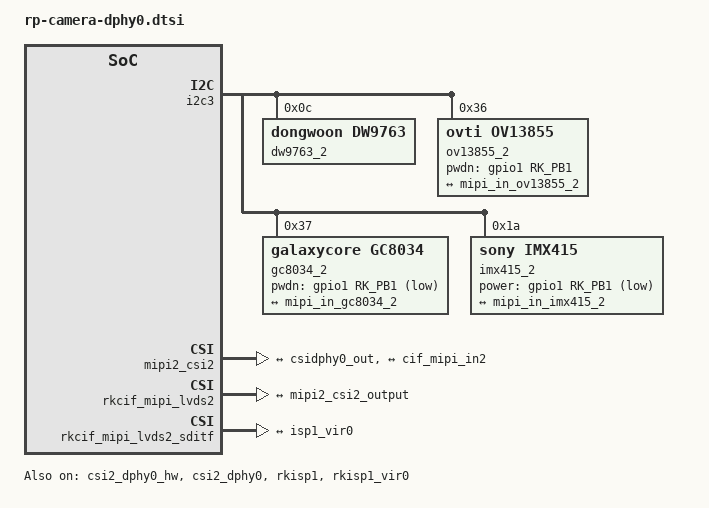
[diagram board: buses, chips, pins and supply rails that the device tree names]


&i2c3 {
	status = "okay";
	pinctrl-names = "default";
	pinctrl-0 = <&i2c3m0_xfer>;

	dw9763_2: dw9763_2@c {
                compatible = "dongwoon,dw9763";
                status = "okay";
                reg = <0x0c>;
                rockchip,vcm-max-current = <120>;   
                rockchip,vcm-start-current = <20>;   
                rockchip,vcm-rated-current = <90>;  
                rockchip,vcm-step-mode = <3>;     
                rockchip,vcm-t-src = <0x20>;
                rockchip,vcm-t-div = <1>;
                rockchip,camera-module-index = <2>;    
                rockchip,camera-module-facing = "front"; 
        };
  
	ov13855_2: ov13855_2@36 {
		compatible = "ovti,ov13855";
		status = "okay";
		reg = <0x36>;
		clocks = <&cru CLK_MIPI_CAMARAOUT_M3>;
		clock-names = "xvclk";
		power-domains = <&power RK3588_PD_VI>;
		pinctrl-names = "default";
		pinctrl-0 = <&mipim0_camera3_clk>;
		rockchip,grf = <&sys_grf>;
		pwdn-gpios = <&gpio1 RK_PB1 GPIO_ACTIVE_HIGH>;
		rockchip,camera-module-index = <2>;
		rockchip,camera-module-facing = "front";
		rockchip,camera-module-name = "CMK-OT2016-FV1";
		rockchip,camera-module-lens-name = "default";
		lens-focus = <&dw9763_2>;
		port {
			ov13855_out2: endpoint {
				remote-endpoint = <&mipi_in_ov13855_2>;
				data-lanes = <1 2 3 4>;
			};
		};
	};
        gc8034_2: gc8034_2@37 {
                compatible = "galaxycore,gc8034";
                status = "okay";
                reg = <0x37>;
                clocks = <&cru CLK_MIPI_CAMARAOUT_M3>;
                clock-names = "xvclk";
                power-domains = <&power RK3588_PD_VI>;
                pinctrl-names = "default";
                pinctrl-0 = <&mipim0_camera3_clk>;
                rockchip,grf = <&sys_grf>;
                pwdn-gpios = <&gpio1 RK_PB1 GPIO_ACTIVE_LOW>;
                rockchip,camera-module-index = <0>;
                rockchip,camera-module-facing = "back";
                rockchip,camera-module-name = "RK-CMK-8M-2-v1";
                rockchip,camera-module-lens-name = "CK8401-4";
                port {
                        gc8034_out2: endpoint {
                                remote-endpoint = <&mipi_in_gc8034_2>;
                                data-lanes = <1 2 3 4>;
                        };
                };
        };
        imx415_2: imx415_2@1a {
                compatible = "sony,imx415";
                status = "okay";
                reg = <0x1a>;
                clocks = <&cru CLK_MIPI_CAMARAOUT_M3>;
                clock-names = "xvclk";
                power-domains = <&power RK3588_PD_VI>;
                pinctrl-names = "default";
                pinctrl-0 = <&mipim0_camera3_clk>;
                rockchip,grf = <&sys_grf>;
                power-gpios = <&gpio1 RK_PB1 GPIO_ACTIVE_LOW>; //modify camera addr 0x1a
               // reset-gpios = <&gpio1 RK_PD5 GPIO_ACTIVE_HIGH>;
                rockchip,camera-module-index = <2>;
                rockchip,camera-module-facing = "front";
                rockchip,camera-module-name = "CMK-OT2022-PX1";
                rockchip,camera-module-lens-name = "IR0147-50IRC-8M-F20";
                port {
                        imx415_out2: endpoint {
                                remote-endpoint = <&mipi_in_imx415_2>;
                                data-lanes = <1 2 3 4>;
                        };
                };
        };
};

&csi2_dphy0_hw {
	status = "okay";
};

&csi2_dphy0 {
	status = "okay";
	ports {
		#address-cells = <1>;
		#size-cells = <0>;
		port@0 {
			reg = <0>;
			#address-cells = <1>;
			#size-cells = <0>;
			mipi_in_ov13855_2: endpoint@1 {
				reg = <1>;
				remote-endpoint = <&ov13855_out2>;
				data-lanes = <1 2 3 4>;
			};
			mipi_in_gc8034_2: endpoint@2 {
				reg = <2>;
				remote-endpoint = <&gc8034_out2>;
				data-lanes = <1 2 3 4>;
			};
			mipi_in_imx415_2: endpoint@3 {
				reg = <3>;
				remote-endpoint = <&imx415_out2>;
				data-lanes = <1 2 3 4>;
			};
		};
		port@1 {
			reg = <1>;
			#address-cells = <1>;
			#size-cells = <0>;
			csidphy0_out: endpoint@0 {
				reg = <0>;
				remote-endpoint = <&mipi2_csi2_input>;
			};
		};
	};
};

&mipi2_csi2 {
	status = "okay";
	ports {
		#address-cells = <1>;
		#size-cells = <0>;
		port@0 {
			reg = <0>;
			#address-cells = <1>;
			#size-cells = <0>;
			mipi2_csi2_input: endpoint@1 {
				reg = <1>;
				remote-endpoint = <&csidphy0_out>;
			};
		};
		port@1 {
			reg = <1>;
			#address-cells = <1>;
			#size-cells = <0>;
			mipi2_csi2_output: endpoint@0 {
				reg = <0>;
				remote-endpoint = <&cif_mipi_in2>;
			};
		};
	};
};


&rkcif_mipi_lvds2 {
	status = "okay";
	port {
		cif_mipi_in2: endpoint {
			remote-endpoint = <&mipi2_csi2_output>;
		};
	};
};

&rkcif_mipi_lvds2_sditf {
	status = "okay";
	port {
		mipi2_lvds_sditf: endpoint {
			remote-endpoint = <&isp1_vir0>;
		};
	};
};

&rkisp1 {
	status = "okay";
};

&isp1_mmu {
	status = "okay";
};

&rkisp1_vir0 {
	status = "okay";
	port {
		#address-cells = <1>;
		#size-cells = <0>;

		isp1_vir0: endpoint@0 {
			reg = <0>;
			remote-endpoint = <&mipi2_lvds_sditf>;
		};
	};
};

